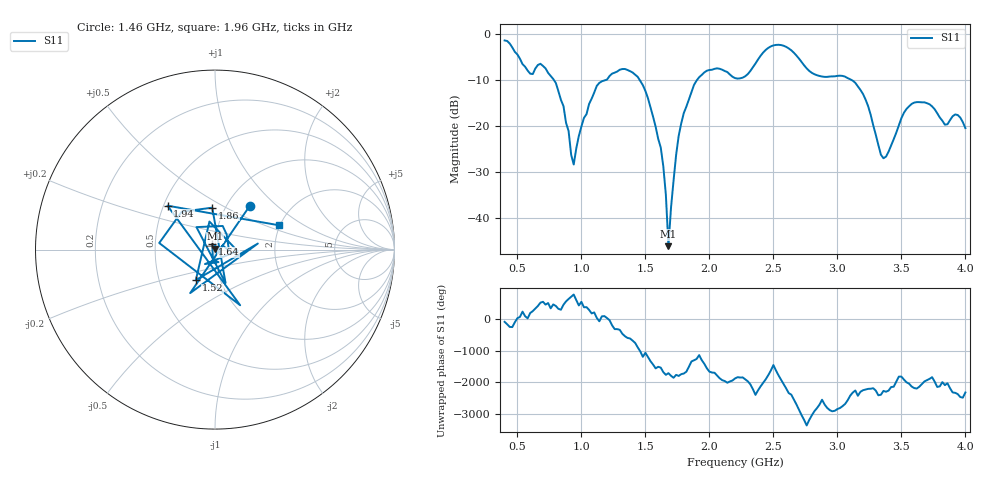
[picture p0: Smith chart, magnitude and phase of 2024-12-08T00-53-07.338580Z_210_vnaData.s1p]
!Created with skrf (http://scikit-rf.org).
# Hz S RI R 50.0
!freq ReS11 ImS11
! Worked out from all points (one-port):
!   181 points, 400 MHz to 4 GHz, reference 50 ohm
!   lowest |S11| = -46.2 dB at 1.68 GHz (marker M1), VSWR 1.01, Z = 50.1 + j0.485 ohm
!   |S11| at or under -10 dB: 785.8 MHz to 1.188 GHz (402.2 MHz wide, 40.8 % of centre); 1.456 GHz to 1.902 GHz (446.4 MHz wide, 26.6 % of centre); 3.112 GHz to end of sweep
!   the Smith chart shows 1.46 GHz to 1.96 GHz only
!   S11 on the Smith chart (normalised r, x): 1.46 GHz: 1.27, +0.68; 1.52 GHz: 0.77, -0.27; 1.64 GHz: 0.97, +0.06; 1.86 GHz: 0.87, +0.43; 1.94 GHz: 0.52, +0.29; 1.96 GHz: 1.99, +0.63
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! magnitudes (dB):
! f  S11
! 400 MHz  -1.3
! 600 MHz  -8.6
! 720 MHz  -7.4
! 860 MHz  -15.7
! 940 MHz  -28.4
! 1 GHz  -20.1
! 1.12 GHz  -11.3
! 1.3 GHz  -7.7
! 1.46 GHz  -10.2
! 1.52 GHz  -14.0
! 1.64 GHz  -28.8
! 1.66 GHz  -35.1
! 1.68 GHz  -46.2
! 1.7 GHz  -37.9
! 1.76 GHz  -22.2
! 1.86 GHz  -12.6
! 1.94 GHz  -8.9
! 1.96 GHz  -8.3
! 2.2 GHz  -9.6
! 2.48 GHz  -2.6
! 2.66 GHz  -4.0
! 2.82 GHz  -8.7
! 3.1 GHz  -9.8
! 3.22 GHz  -14.2
! 3.36 GHz  -27.1
! 3.56 GHz  -15.7
! 3.94 GHz  -17.6
! 4 GHz  -20.5
